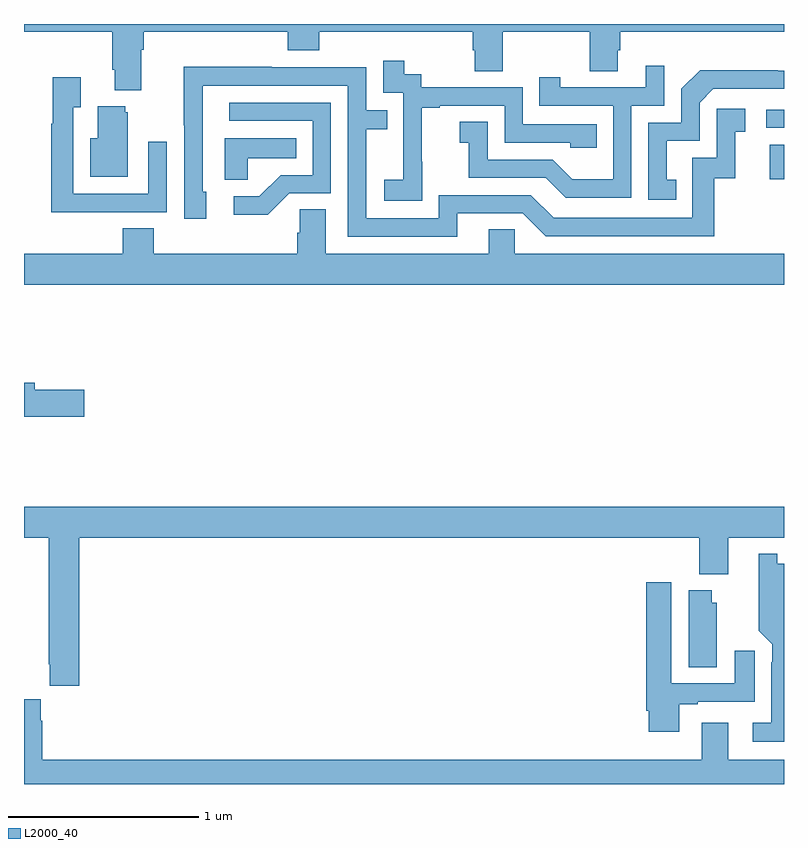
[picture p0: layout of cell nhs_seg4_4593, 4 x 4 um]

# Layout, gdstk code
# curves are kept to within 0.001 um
import gdstk
lib = gdstk.Library(unit=1e-6, precision=1e-09)
def R(c, l, rs):  # rectangles x0, y0, x1, y1
    for r in rs: c.add(gdstk.rectangle(r[:2], r[2:], *l))
def P(c, l, *ps):  # polygons
    for p in ps: c.add(gdstk.Polygon(p, *l))
L2000_40 = (2000, 40)

nhs_seg4_4593 = lib.new_cell('nhs_seg4_4593')
R(nhs_seg4_4593, L2000_40, [(362.924,756.084,363,756.265), (362.907,756.354,363,756.45)])
P(nhs_seg4_4593, L2000_40, [(359.617,756.764),(359.63,756.764),(359.63,756.86),(360.389,756.86),(360.389,756.761),(360.554,756.761),(360.554,756.86),(361.361,756.86),(361.361,756.762),(361.373,756.762),(361.373,756.652),(361.521,756.652),(361.521,756.86),(361.978,756.86),(361.978,756.652),(362.125,756.652),(362.125,756.762),(362.138,756.762),(362.138,756.86),(363,756.86),(363,756.9),(359,756.9),(359,756.86),(359.465,756.86),(359.465,756.658),(359.477,756.658),(359.477,756.551),(359.617,756.551)],
  [(361.095,756.175),(361.094,756.175),(361.094,756.459),(361.189,756.459),(361.189,756.471),(361.53,756.471),(361.53,756.276),(361.875,756.276),(361.875,756.249),(362.015,756.249),(362.015,756.372),(361.626,756.372),(361.626,756.567),(361.092,756.567),(361.092,756.636),(361,756.636),(361,756.706),(360.891,756.706),(360.891,756.537),(360.996,756.537),(360.996,756.308),(360.995,756.308),(360.995,756.079),(360.897,756.079),(360.897,755.969),(361.095,755.969)],
  [(362.196,756.471),(362.37,756.471),(362.37,756.679),(362.273,756.679),(362.273,756.567),(361.822,756.567),(361.822,756.619),(361.711,756.619),(361.711,756.471),(362.1,756.471),(362.1,756.082),(361.886,756.082),(361.782,756.186),(361.44,756.186),(361.44,756.385),(361.293,756.385),(361.293,756.275),(361.342,756.275),(361.342,756.09),(361.745,756.09),(361.85,755.985),(362.196,755.985)],
  [(361.279,755.904),(361.626,755.904),(361.746,755.784),(362.633,755.784),(362.633,756.087),(362.744,756.087),(362.744,756.333),(362.797,756.333),(362.797,756.454),(362.646,756.454),(362.646,756.195),(362.517,756.195),(362.517,755.88),(361.788,755.88),(361.668,756),(361.182,756),(361.182,755.877),(360.801,755.877),(360.801,756.346),(360.911,756.346),(360.911,756.447),(360.801,756.447),(360.801,756.672),(360.305,756.672),(360.305,756.674),(359.842,756.674),(359.842,756.367),(359.844,756.367),(359.844,755.874),(359.959,755.874),(359.959,756.018),(359.94,756.018),(359.94,756.576),(360.705,756.576),(360.705,755.781),(361.279,755.781)],
  [(362.432,756.081),(362.383,756.081),(362.383,756.285),(362.556,756.285),(362.556,756.486),(362.628,756.558),(363,756.558),(363,756.654),(362.966,756.654),(362.966,756.656),(362.558,756.656),(362.46,756.558),(362.46,756.381),(362.286,756.381),(362.286,755.976),(362.432,755.976)],
  [(359.435,755.91),(359.751,755.91),(359.751,756.28),(359.655,756.28),(359.655,756.006),(359.259,756.006),(359.259,756.463),(359.299,756.463),(359.299,756.619),(359.151,756.619),(359.151,756.374),(359.143,756.374),(359.143,755.909),(359.435,755.909)],
  [(360.396,756.009),(360.615,756.009),(360.615,756.486),(360.081,756.486),(360.081,756.39),(360.519,756.39),(360.519,756.105),(360.35,756.105),(360.239,755.994),(360.105,755.994),(360.105,755.897),(360.283,755.897)],
  [(359.545,756.435),(359.534,756.435),(359.534,756.466),(359.387,756.466),(359.387,756.298),(359.348,756.298),(359.348,756.095),(359.545,756.095)],
  [(360.177,756.194),(360.434,756.194),(360.434,756.298),(360.056,756.298),(360.056,756.079),(360.177,756.079)],
  [(363,755.692),(361.584,755.692),(361.584,755.819),(361.445,755.819),(361.445,755.692),(360.589,755.692),(360.589,755.924),(360.45,755.924),(360.45,755.801),(360.437,755.801),(360.437,755.692),(359.684,755.692),(359.684,755.825),(359.519,755.825),(359.519,755.692),(359,755.692),(359,755.528),(363,755.528)],
  [(359.317,754.976),(359.056,754.976),(359.056,755.012),(359,755.012),(359,754.834),(359.317,754.834)],
  [(359.291,754.196),(362.555,754.196),(362.555,754.004),(362.707,754.004),(362.707,754.196),(363,754.196),(363,754.36),(359,754.36),(359,754.196),(359.131,754.196),(359.131,753.529),(359.135,753.529),(359.135,753.417),(359.291,753.417)],
  [(363,754.06),(362.965,754.06),(362.965,754.111),(362.868,754.111),(362.867,753.706),(362.937,753.636),(362.937,753.542),(362.933,753.542),(362.933,753.223),(362.835,753.223),(362.835,753.122),(363,753.122)],
  [(362.449,753.321),(362.545,753.321),(362.545,753.333),(362.845,753.333),(362.845,753.601),(362.741,753.601),(362.741,753.429),(362.407,753.429),(362.407,753.961),(362.276,753.961),(362.276,753.286),(362.288,753.286),(362.288,753.174),(362.449,753.174)],
  [(362.647,753.855),(362.62,753.855),(362.62,753.919),(362.498,753.919),(362.498,753.514),(362.647,753.514)],
  [(363,753.028),(362.707,753.028),(362.707,753.223),(362.567,753.223),(362.567,753.028),(359.096,753.028),(359.096,753.233),(359.089,753.233),(359.089,753.346),(359,753.346),(359,752.9),(363,752.9)])

lib.write_gds('nhs_seg4_4593.gds')
